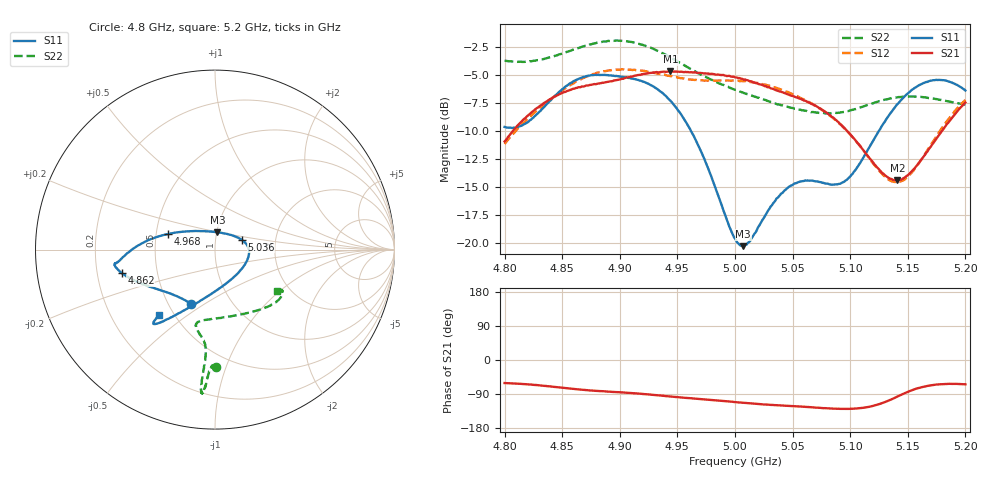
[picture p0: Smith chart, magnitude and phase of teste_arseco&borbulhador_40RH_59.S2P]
! Network Analyzer HP8722D
! Hewlett-Packard
! Data name: Linha & Wilkinson
! Saver's name: Rodrigo Anjos
! Comments: Teste da utilização de aquisição
! continua pelo VNA HP8722D
! Time and date: 15/4/2025 16:50
!  Frequency  S11  S21  S12  S22
# HZ  S  MA R 50
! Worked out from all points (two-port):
!   401 points, 4.8 GHz to 5.2 GHz, reference 50 ohm
!   highest |S21| = -4.64 dB at 4.944 GHz (marker M1); lowest = -14.4 dB at 5.141 GHz (marker M2)
!   |S21| within 3 dB of the highest: 4.832 GHz to 5.069 GHz (236.6 MHz wide, 4.78 % of centre); 5.198018 GHz to end of sweep
!   lowest |S11| = -20.3 dB at 5.007 GHz (marker M3), VSWR 1.22, Z = 50.4 + j9.79 ohm
!   |S11| at or under -10 dB: 4.962 GHz to 5.125 GHz (162.7 MHz wide, 3.23 % of centre)
!   |S22| runs from -8.4 to -1.9 dB; largest |S21 - S12| = 0.88
!   S11 on the Smith chart (normalised r, x): 4.8 GHz: 0.65, -0.44; 4.862 GHz: 0.31, -0.11; 4.968 GHz: 0.58, +0.11; 5.036 GHz: 1.34, +0.15; 5.2 GHz: 0.41, -0.39
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4.8e9  0.331 -114.0  0.285 -60.8  0.278 -175.2  0.6544 -89.6
4.819e9  0.3455 -133.9  0.3672 -63.9  0.3555 -173.5  0.648 -91.3
4.862e9  0.5364 -165.9  0.4941 -76.9  0.5287 -176.7  0.7404 -93.8
4.867e9  0.5497 -167.9  0.5019 -78.3  0.5439 -177.8  0.7543 -93.8
4.9e9  0.5556 -172.3  0.5394 -85.1  0.5967 175.7  0.8028 -95.2
4.934e9  0.4819 -178.2  0.58 -93.6  0.5742 171.8  0.7187 -95.7
4.944e9  0.4335 177.3  0.5862 -96.4  0.5578 171.7  0.6773 -95.5
4.968e9  0.2741 161.5  0.5771 -102.6  0.5361 174.1  0.5749 -95.1
5e9  0.1052 105.9  0.5509 -111.1  0.5323 176.3  0.4846 -99.5
5.007e9  0.09715 81.9  0.5398 -112.9  0.5294 176.3  0.4707 -101.0
5.014e9  0.1046 59.6  0.5288 -114.8  0.526 176.0  0.4578 -102.5
5.036e9  0.1584 20.5  0.4823 -119.4  0.4946 174.8  0.4189 -103.8
5.05e9  0.1823 6.0  0.455 -121.7  0.4627 174.3  0.4023 -100.4
5.067e9  0.1906 -12.3  0.418 -124.8  0.4194 173.9  0.3859 -91.7
5.085e9  0.1829 -40.8  0.3654 -128.2  0.3635 173.5  0.3816 -78.3
5.097e9  0.1921 -65.9  0.3192 -129.1  0.3182 174.5  0.389 -68.2
5.134e9  0.3754 -116.5  0.1952 -106.2  0.1915 -159.1  0.4427 -43.4
5.141e9  0.418 -120.5  0.1909 -96.4  0.1876 -148.0  0.4489 -40.3
5.153e9  0.4818 -125.3  0.2085 -80.5  0.2057 -129.6  0.4527 -36.0
5.17e9  0.5327 -128.9  0.2705 -66.9  0.2759 -113.1  0.4447 -32.2
5.184e9  0.5312 -130.2  0.3413 -63.2  0.3519 -107.3  0.4317 -31.3
5.2e9  0.4813 -130.6  0.4255 -64.2  0.4375 -106.3  0.4157 -33.5
